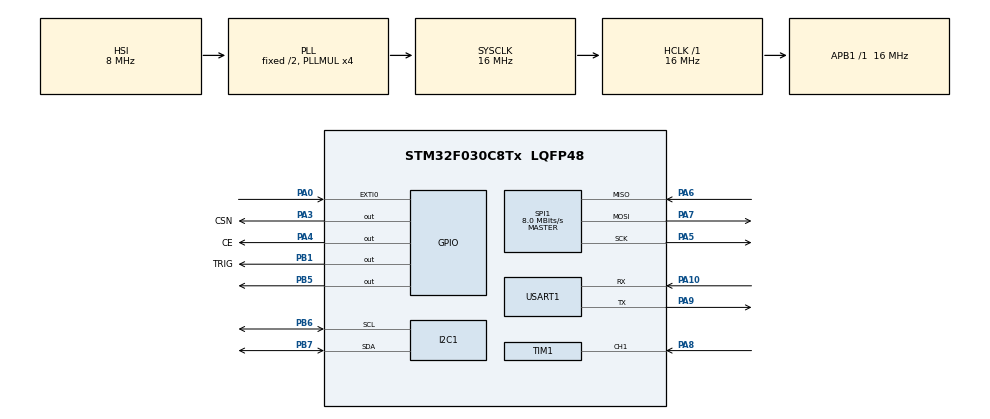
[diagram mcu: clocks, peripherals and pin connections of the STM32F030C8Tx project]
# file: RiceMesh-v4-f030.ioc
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I2C1.Timing=0x00201D2B
Mcu.Family=STM32F0
Mcu.Name=STM32F030C8Tx
Mcu.Package=LQFP48
NVIC.EXTI0_1_IRQn=true\:0\:0\:false\:false\:true\:true\:true\:true
NVIC.I2C1_IRQn=true\:0\:0\:false\:false\:true\:true\:true\:true
NVIC.SPI1_IRQn=true\:0\:0\:false\:false\:true\:true\:true\:true
NVIC.TIM1_CC_IRQn=true\:0\:0\:false\:false\:true\:true\:true\:true
NVIC.USART1_IRQn=true\:0\:0\:false\:false\:true\:true\:true\:true
PA0.GPIO_ModeDefaultEXTI=GPIO_MODE_IT_FALLING
PA0.Signal=GPXTI0
PA10.Mode=Asynchronous
PA10.Signal=USART1_RX
PA3.GPIO_Label=CSN
PA3.GPIO_Speed=GPIO_SPEED_FREQ_HIGH
PA3.Signal=GPIO_Output
PA4.GPIO_Label=CE
PA4.GPIO_Speed=GPIO_SPEED_FREQ_HIGH
PA4.Signal=GPIO_Output
PA5.Mode=Full_Duplex_Master
PA5.Signal=SPI1_SCK
PA6.Mode=Full_Duplex_Master
PA6.Signal=SPI1_MISO
PA7.Mode=Full_Duplex_Master
PA7.Signal=SPI1_MOSI
PA8.Signal=S_TIM1_CH1
PA9.Mode=Asynchronous
PA9.Signal=USART1_TX
PB1.GPIO_Label=TRIG
PB1.Signal=GPIO_Output
PB5.Signal=GPIO_Output
PB6.Mode=I2C
PB6.Signal=I2C1_SCL
PB7.Mode=I2C
PB7.Signal=I2C1_SDA
ProjectManager.HeapSize=0x200
ProjectManager.StackSize=0x400
ProjectManager.TargetToolchain=Makefile
RCC.AHBFreq_Value=16000000
RCC.APB1Freq_Value=16000000
RCC.APB1TimFreq_Value=16000000
RCC.HCLKFreq_Value=16000000
RCC.PLLMUL=RCC_PLL_MUL4
RCC.SYSCLKFreq_VALUE=16000000
RCC.SYSCLKSource=RCC_SYSCLKSOURCE_PLLCLK
SH.S_TIM1_CH1.0=TIM1_CH1,Input_Capture1_from_TI1
SPI1.CalculateBaudRate=8.0 MBits/s
SPI1.DataSize=SPI_DATASIZE_8BIT
SPI1.Direction=SPI_DIRECTION_2LINES
SPI1.Mode=SPI_MODE_MASTER
SPI1.VirtualType=VM_MASTER
TIM1.Channel-Input_Capture1_from_TI1=TIM_CHANNEL_1
TIM1.Channel-Input_Capture2_from_TI2=TIM_CHANNEL_2
TIM1.Prescaler=47
USART1.VirtualMode-Asynchronous=VM_ASYNC
VP_TIM1_VS_ClockSourceINT.Mode=Internal
board=custom

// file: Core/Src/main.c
/* USER CODE BEGIN Header */
/**
  ******************************************************************************
  * @file           : main.c
  * @brief          : Main program body
  ******************************************************************************
  * @attention
  *
  * Copyright (c) 2026 STMicroelectronics.
  * All rights reserved.
  *
  * This software is licensed under terms that can be found in the LICENSE file
  * in the root directory of this software component.
  * If no LICENSE file comes with this software, it is provided AS-IS.
  *
  ******************************************************************************
  */
/* USER CODE END Header */
#include "main.h"

/* USER CODE BEGIN Includes */
#include "NRF24.h"
#include "NRF24_reg_addresses.h"
#include <stdio.h>
#include <string.h>
#include "bmp280.h"

#define PLD_SIZE 32
/* USER CODE END Includes */

I2C_HandleTypeDef hi2c1;

SPI_HandleTypeDef hspi1;

TIM_HandleTypeDef htim1;

UART_HandleTypeDef huart1;

void SystemClock_Config(void);
static void MX_GPIO_Init(void);
static void MX_SPI1_Init(void);
static void MX_TIM1_Init(void);
static void MX_USART1_UART_Init(void);
static void MX_I2C1_Init(void);

/* USER CODE BEGIN 0 */
void delay (uint16_t time)
{
	__HAL_TIM_SET_COUNTER(&htim1, 0);
	while (__HAL_TIM_GET_COUNTER (&htim1) < time);
}

uint32_t IC_Val1 = 0;
uint32_t IC_Val2 = 0;
uint32_t Difference = 0;
uint8_t Distance  = 0;
uint8_t Is_First_Captured = 0;  // is the first value captured ?

void HAL_TIM_IC_CaptureCallback(TIM_HandleTypeDef *htim)
{
	if (htim->Channel == HAL_TIM_ACTIVE_CHANNEL_1)  // if the interrupt source is channel1
	{
		if (Is_First_Captured==0) // if the first value is not captured
		{
			IC_Val1 = HAL_TIM_ReadCapturedValue(htim, TIM_CHANNEL_1); // read the first value
			Is_First_Captured = 1;  // set the first captured as true
			// Now change the polarity to falling edge
			__HAL_TIM_SET_CAPTUREPOLARITY(htim, TIM_CHANNEL_1, TIM_INPUTCHANNELPOLARITY_FALLING);
		}

		else if (Is_First_Captured==1)   // if the first is already captured
		{
			IC_Val2 = HAL_TIM_ReadCapturedValue(htim, TIM_CHANNEL_1);  // read second value
			__HAL_TIM_SET_COUNTER(htim, 0);  // reset the counter

			if (IC_Val2 > IC_Val1)
			{
				Difference = IC_Val2-IC_Val1;
			}

			else if (IC_Val1 > IC_Val2)
			{
				Difference = (0xffff - IC_Val1) + IC_Val2;
			}

			Distance = Difference * .034/2;
			Is_First_Captured = 0; // set it back to false

			// set polarity to rising edge
			__HAL_TIM_SET_CAPTUREPOLARITY(htim, TIM_CHANNEL_1, TIM_INPUTCHANNELPOLARITY_RISING);
			__HAL_TIM_DISABLE_IT(&htim1, TIM_IT_CC1);
		}
	}
}

void HCSR04_Read (void)
{
	HAL_GPIO_WritePin(TRIG_GPIO_Port, TRIG_Pin, GPIO_PIN_SET);  // pull the TRIG pin HIGH
	delay(10);  // wait for 10 us
	HAL_GPIO_WritePin(TRIG_GPIO_Port, TRIG_Pin, GPIO_PIN_RESET);  // pull the TRIG pin low

	__HAL_TIM_ENABLE_IT(&htim1, TIM_IT_CC1);
}

uint8_t Address_Node1[5] = {0xAA, 0x44, 0x33, 0x22, 0x11};
uint8_t Address_Node2[5] = {0xBB, 0x44, 0x33, 0x22, 0x11};
uint8_t Address_Node3[5] = {0xCC, 0x44, 0x33, 0x22, 0x11};

uint8_t data_R[PLD_SIZE + 1];
uint16_t data = 0;

/* --- Taruh di luar loop, dekat deklarasi global / atas main --- */
#define NUM_NODES 3

typedef struct {
  uint32_t distance;   // data mentah HC-SR04
  uint8_t  valid;      // 0 = belum pernah terima dari node ini
} node_data_t;

static node_data_t nodes[NUM_NODES] = {0};
static uint32_t last_send = 0;

/* USER CODE END 0 */

int main(void)
{

  /* MCU Configuration--------------------------------------------------------*/

  /* Reset of all peripherals, Initializes the Flash interface and the Systick. */
  HAL_Init();

  /* Configure the system clock */
  SystemClock_Config();

  /* Initialize all configured peripherals */
  MX_GPIO_Init();
  MX_SPI1_Init();
  MX_TIM1_Init();
  MX_USART1_UART_Init();
  MX_I2C1_Init();
  /* USER CODE BEGIN 2 */
  csn_high();
  ce_high();

  HAL_Delay(5);

  ce_low();

  nrf24_init();

  nrf24_auto_ack_all(auto_ack);
  nrf24_en_ack_pld(disable);
  nrf24_dpl(disable);

  nrf24_set_crc(no_crc, _1byte);

  nrf24_tx_pwr(_0dbm);
  nrf24_data_rate(_1mbps);
  nrf24_set_channel(90);
  nrf24_set_addr_width(5);

  nrf24_set_rx_dpl(0, disable);
  nrf24_set_rx_dpl(1, disable);
  nrf24_set_rx_dpl(2, disable);
  nrf24_set_rx_dpl(3, disable);
  nrf24_set_rx_dpl(4, disable);
  nrf24_set_rx_dpl(5, disable);

  nrf24_pipe_pld_size(0, PLD_SIZE);
  nrf24_pipe_pld_size(1, PLD_SIZE);
  nrf24_pipe_pld_size(2, PLD_SIZE);
  nrf24_pipe_pld_size(3, PLD_SIZE);

  nrf24_auto_retr_delay(4);
  nrf24_auto_retr_limit(10);

  nrf24_open_rx_pipe(1, Address_Node1);
  nrf24_open_rx_pipe(2, Address_Node2);
  nrf24_open_rx_pipe(3, Address_Node3);
  ce_high();

  nrf24_flush_rx();

  nrf24_listen();

  BMP280_Init(&hi2c1);
  //nrf24_stop_listen();
  /* USER CODE END 2 */

  /* Infinite loop */
  /* USER CODE BEGIN WHILE */
  while (1)
  {
    // nrf24_listen();  // Start listening for incoming data

    // if (nrf24_data_available())  // Check if data is available
    // {
    //   // nrf24_receive(data_R, sizeof(data_R));  // Receive the data
    //   // HAL_GPIO_WritePin(GPIOB, GPIO_PIN_5, GPIO_PIN_SET);  // Toggle an LED to indicate data reception
    //   // HAL_Delay(100);
    //   // HAL_GPIO_WritePin(GPIOB, GPIO_PIN_5, GPIO_PIN_RESET);

    //   memset(data_R, 0, sizeof(data_R));

    //   nrf24_receive(data_R, PLD_SIZE);
    //   data_R[PLD_SIZE] = '\0';

    //   char tmp[64];
    //   snprintf(tmp, sizeof(tmp), "| %s |\r\n", (char *)data_R);
    //   HAL_UART_Transmit(&huart1, (uint8_t *)tmp, strlen(tmp), 1000);

    //   HAL_GPIO_WritePin(GPIOB, GPIO_PIN_5, GPIO_PIN_SET);
    //   HAL_Delay(50);
    //   HAL_GPIO_WritePin(GPIOB, GPIO_PIN_5, GPIO_PIN_RESET);
    // }

    // int32_t temp, press;
    // BMP280_Read_Raw(&temp, &press);

    // if (temp == 0 || press == 0) {
    //   // Jika pembacaan gagal, kirim pesan error
    //   const char *error_msg = "Gagal membaca sensor BMP280\r\n";
    //   HAL_UART_Transmit(&huart1, (uint8_t*)error_msg, strlen(error_msg), HAL_MAX_DELAY);

    //   HAL_Delay(1000); // Beri jeda 1 detik sebelum mencoba lagi
    //   continue;        // <-- PENTING: Lewati eksekusi di bawah, langsung ulang loop!
    // }

    // // Kompensasi nilai mentah menjadi nilai sebenarnya
    // int32_t real_temp = BMP280_Compensate_T(temp);
    // uint32_t real_press = BMP280_Compensate_P(press);

    // // Trik tanpa Float
    // int32_t temp_int = real_temp / 100;
    // int32_t temp_frac = real_temp % 100;
    // if (temp_frac < 0) temp_frac = -temp_frac; // Mencegah hasil negatif ganda

    // // Trik memecah nilai tekanan dari Pa menjadi hPa (Contoh: 100653 Pa -> 1006.53 hPa)
    // uint32_t press_int = real_press / 100;
    // uint32_t press_frac = real_press % 100;

    // // Membuat buffer untuk menyimpan teks yang akan dikirim
    // char uart_buf[100];

    // // Menyusun format teks dengan satuan hPa
    // snprintf(uart_buf, sizeof(uart_buf), "Suhu: %ld.%02ld C | Tekanan: %lu.%02lu hPa\r\n",
    //          temp_int, temp_frac, press_int, press_frac);

    // // Mengirim data melalui UART
    // HAL_UART_Transmit(&huart1, (uint8_t*)uart_buf, strlen(uart_buf), HAL_MAX_DELAY);

    // // Tunggu 1 detik sebelum pengukuran berikutnya
    // HAL_Delay(1000);

    /* 1) Dengarkan & update array node (non-blocking, jangan di-delay di sini) */
  nrf24_listen();
  if (nrf24_data_available())
  {
    memset(data_R, 0, sizeof(data_R));
    nrf24_receive(data_R, PLD_SIZE);
    data_R[PLD_SIZE] = '\0';

    unsigned int node_id = 0, dist = 0;
    // format kiriman: "N1 d:123 "
    if (sscanf((char *)data_R, "N%u d:%u", &node_id, &dist) == 2)
    {
      if (node_id >= 1 && node_id <= NUM_NODES)
      {
        nodes[node_id - 1].distance = dist;   // index 0=N1, 1=N2, 2=N3
        nodes[node_id - 1].valid = 1;
      }
    }

    HAL_GPIO_WritePin(GPIOB, GPIO_PIN_5, GPIO_PIN_SET);
    HAL_Delay(20);
    HAL_GPIO_WritePin(GPIOB, GPIO_PIN_5, GPIO_PIN_RESET);
  }

  /* 2) Kirim JSON tiap 1 detik (pakai tick, BUKAN HAL_Delay biar gak miss paket) */
  if (HAL_GetTick() - last_send >= 1000)
  {
    last_send = HAL_GetTick();

    /* Baca BMP280 */
    int32_t temp_raw, press_raw;
    uint8_t bmp_ok = 1;
    BMP280_Read_Raw(&temp_raw, &press_raw);
    if (temp_raw == 0 || press_raw == 0) bmp_ok = 0;

    /* Siapkan field temperature & pressure (dengan handling tanda negatif) */
    char temp_str[16], press_str[16];
    if (bmp_ok)
    {
      int32_t  real_temp  = BMP280_Compensate_T(temp_raw);
      uint32_t real_press = BMP280_Compensate_P(press_raw);

      const char *sign = (real_temp < 0) ? "-" : "";
      int32_t a_temp = (real_temp < 0) ? -real_temp : real_temp;

      snprintf(temp_str,  sizeof(temp_str),  "%s%ld.%02ld",
               sign, (long)(a_temp / 100), (long)(a_temp % 100));
      snprintf(press_str, sizeof(press_str), "%lu.%02lu",
               (unsigned long)(real_press / 100), (unsigned long)(real_press % 100));
    }
    else
    {
      strcpy(temp_str,  "null");   // sensor gagal -> JSON tetap valid, data jarak gak hilang
      strcpy(press_str, "null");
    }

    /* Bangun JSON */
    char json[256];
    int len = 0;
    len += snprintf(json + len, sizeof(json) - len, "{\"device\":[");
    for (int i = 0; i < NUM_NODES; i++)
    {
      if (i > 0) len += snprintf(json + len, sizeof(json) - len, ",");

      if (nodes[i].valid)
        len += snprintf(json + len, sizeof(json) - len,
            "{\"d\":%lu,\"temperature\":%s,\"pressure\":%s}",
            (unsigned long)nodes[i].distance, temp_str, press_str);
      else
        len += snprintf(json + len, sizeof(json) - len,
            "{\"d\":null,\"temperature\":%s,\"pressure\":%s}",
            temp_str, press_str);
    }
    len += snprintf(json + len, sizeof(json) - len, "]}\n");

    HAL_UART_Transmit(&huart1, (uint8_t *)json, strlen(json), HAL_MAX_DELAY);
    /* USER CODE END WHILE */
  }

  }
}

void SystemClock_Config(void)
{
  RCC_OscInitTypeDef RCC_OscInitStruct = {0};
  RCC_ClkInitTypeDef RCC_ClkInitStruct = {0};
  RCC_PeriphCLKInitTypeDef PeriphClkInit = {0};

  /** Initializes the RCC Oscillators according to the specified parameters
  * in the RCC_OscInitTypeDef structure.
  */
  RCC_OscInitStruct.OscillatorType = RCC_OSCILLATORTYPE_HSI;
  RCC_OscInitStruct.HSIState = RCC_HSI_ON;
  RCC_OscInitStruct.HSICalibrationValue = RCC_HSICALIBRATION_DEFAULT;
  RCC_OscInitStruct.PLL.PLLState = RCC_PLL_ON;
  RCC_OscInitStruct.PLL.PLLSource = RCC_PLLSOURCE_HSI;
  RCC_OscInitStruct.PLL.PLLMUL = RCC_PLL_MUL4;
  RCC_OscInitStruct.PLL.PREDIV = RCC_PREDIV_DIV1;
  if (HAL_RCC_OscConfig(&RCC_OscInitStruct) != HAL_OK)
  {
    Error_Handler();
  }

  /** Initializes the CPU, AHB and APB buses clocks
  */
  RCC_ClkInitStruct.ClockType = RCC_CLOCKTYPE_HCLK|RCC_CLOCKTYPE_SYSCLK
                              |RCC_CLOCKTYPE_PCLK1;
  RCC_ClkInitStruct.SYSCLKSource = RCC_SYSCLKSOURCE_PLLCLK;
  RCC_ClkInitStruct.AHBCLKDivider = RCC_SYSCLK_DIV1;
  RCC_ClkInitStruct.APB1CLKDivider = RCC_HCLK_DIV1;

  if (HAL_RCC_ClockConfig(&RCC_ClkInitStruct, FLASH_LATENCY_0) != HAL_OK)
  {
    Error_Handler();
  }
  PeriphClkInit.PeriphClockSelection = RCC_PERIPHCLK_USART1|RCC_PERIPHCLK_I2C1;
  PeriphClkInit.Usart1ClockSelection = RCC_USART1CLKSOURCE_PCLK1;
  PeriphClkInit.I2c1ClockSelection = RCC_I2C1CLKSOURCE_HSI;
  if (HAL_RCCEx_PeriphCLKConfig(&PeriphClkInit) != HAL_OK)
  {
    Error_Handler();
  }
}

static void MX_I2C1_Init(void)
{

  hi2c1.Instance = I2C1;
  hi2c1.Init.Timing = 0x00201D2B;
  hi2c1.Init.OwnAddress1 = 0;
  hi2c1.Init.AddressingMode = I2C_ADDRESSINGMODE_7BIT;
  hi2c1.Init.DualAddressMode = I2C_DUALADDRESS_DISABLE;
  hi2c1.Init.OwnAddress2 = 0;
  hi2c1.Init.OwnAddress2Masks = I2C_OA2_NOMASK;
  hi2c1.Init.GeneralCallMode = I2C_GENERALCALL_DISABLE;
  hi2c1.Init.NoStretchMode = I2C_NOSTRETCH_DISABLE;
  if (HAL_I2C_Init(&hi2c1) != HAL_OK)
  {
    Error_Handler();
  }

  /** Configure Analogue filter
  */
  if (HAL_I2CEx_ConfigAnalogFilter(&hi2c1, I2C_ANALOGFILTER_ENABLE) != HAL_OK)
  {
    Error_Handler();
  }

  /** Configure Digital filter
  */
  if (HAL_I2CEx_ConfigDigitalFilter(&hi2c1, 0) != HAL_OK)
  {
    Error_Handler();
  }

}

static void MX_SPI1_Init(void)
{

  /* SPI1 parameter configuration*/
  hspi1.Instance = SPI1;
  hspi1.Init.Mode = SPI_MODE_MASTER;
  hspi1.Init.Direction = SPI_DIRECTION_2LINES;
  hspi1.Init.DataSize = SPI_DATASIZE_8BIT;
  hspi1.Init.CLKPolarity = SPI_POLARITY_LOW;
  hspi1.Init.CLKPhase = SPI_PHASE_1EDGE;
  hspi1.Init.NSS = SPI_NSS_SOFT;
  hspi1.Init.BaudRatePrescaler = SPI_BAUDRATEPRESCALER_2;
  hspi1.Init.FirstBit = SPI_FIRSTBIT_MSB;
  hspi1.Init.TIMode = SPI_TIMODE_DISABLE;
  hspi1.Init.CRCCalculation = SPI_CRCCALCULATION_DISABLE;
  hspi1.Init.CRCPolynomial = 7;
  hspi1.Init.CRCLength = SPI_CRC_LENGTH_DATASIZE;
  hspi1.Init.NSSPMode = SPI_NSS_PULSE_ENABLE;
  if (HAL_SPI_Init(&hspi1) != HAL_OK)
  {
    Error_Handler();
  }

}

static void MX_TIM1_Init(void)
{

  TIM_ClockConfigTypeDef sClockSourceConfig = {0};
  TIM_MasterConfigTypeDef sMasterConfig = {0};
  TIM_IC_InitTypeDef sConfigIC = {0};

  htim1.Instance = TIM1;
  htim1.Init.Prescaler = 47;
  htim1.Init.CounterMode = TIM_COUNTERMODE_UP;
  htim1.Init.Period = 65535;
  htim1.Init.ClockDivision = TIM_CLOCKDIVISION_DIV1;
  htim1.Init.RepetitionCounter = 0;
  htim1.Init.AutoReloadPreload = TIM_AUTORELOAD_PRELOAD_DISABLE;
  if (HAL_TIM_Base_Init(&htim1) != HAL_OK)
  {
    Error_Handler();
  }
  sClockSourceConfig.ClockSource = TIM_CLOCKSOURCE_INTERNAL;
  if (HAL_TIM_ConfigClockSource(&htim1, &sClockSourceConfig) != HAL_OK)
  {
    Error_Handler();
  }
  if (HAL_TIM_IC_Init(&htim1) != HAL_OK)
  {
    Error_Handler();
  }
  sMasterConfig.MasterOutputTrigger = TIM_TRGO_RESET;
  sMasterConfig.MasterSlaveMode = TIM_MASTERSLAVEMODE_DISABLE;
  if (HAL_TIMEx_MasterConfigSynchronization(&htim1, &sMasterConfig) != HAL_OK)
  {
    Error_Handler();
  }
  sConfigIC.ICPolarity = TIM_INPUTCHANNELPOLARITY_RISING;
  sConfigIC.ICSelection = TIM_ICSELECTION_DIRECTTI;
  sConfigIC.ICPrescaler = TIM_ICPSC_DIV1;
  sConfigIC.ICFilter = 0;
  if (HAL_TIM_IC_ConfigChannel(&htim1, &sConfigIC, TIM_CHANNEL_1) != HAL_OK)
  {
    Error_Handler();
  }

}

static void MX_USART1_UART_Init(void)
{

  huart1.Instance = USART1;
  huart1.Init.BaudRate = 115200;
  huart1.Init.WordLength = UART_WORDLENGTH_8B;
  huart1.Init.StopBits = UART_STOPBITS_1;
  huart1.Init.Parity = UART_PARITY_NONE;
  huart1.Init.Mode = UART_MODE_TX_RX;
  huart1.Init.HwFlowCtl = UART_HWCONTROL_NONE;
  huart1.Init.OverSampling = UART_OVERSAMPLING_16;
  huart1.Init.OneBitSampling = UART_ONE_BIT_SAMPLE_DISABLE;
  huart1.AdvancedInit.AdvFeatureInit = UART_ADVFEATURE_NO_INIT;
  if (HAL_UART_Init(&huart1) != HAL_OK)
  {
    Error_Handler();
  }

}

static void MX_GPIO_Init(void)
{
  GPIO_InitTypeDef GPIO_InitStruct = {0};

  /* GPIO Ports Clock Enable */
  __HAL_RCC_GPIOA_CLK_ENABLE();
  __HAL_RCC_GPIOB_CLK_ENABLE();

  /*Configure GPIO pin Output Level */
  HAL_GPIO_WritePin(GPIOA, CSN_Pin|CE_Pin, GPIO_PIN_RESET);

  /*Configure GPIO pin Output Level */
  HAL_GPIO_WritePin(GPIOB, TRIG_Pin|GPIO_PIN_5, GPIO_PIN_RESET);

  /*Configure GPIO pin : PA0 */
  GPIO_InitStruct.Pin = GPIO_PIN_0;
  GPIO_InitStruct.Mode = GPIO_MODE_IT_FALLING;
  GPIO_InitStruct.Pull = GPIO_NOPULL;
  HAL_GPIO_Init(GPIOA, &GPIO_InitStruct);

  /*Configure GPIO pins : CSN_Pin CE_Pin */
  GPIO_InitStruct.Pin = CSN_Pin|CE_Pin;
  GPIO_InitStruct.Mode = GPIO_MODE_OUTPUT_PP;
  GPIO_InitStruct.Pull = GPIO_NOPULL;
  GPIO_InitStruct.Speed = GPIO_SPEED_FREQ_HIGH;
  HAL_GPIO_Init(GPIOA, &GPIO_InitStruct);

  /*Configure GPIO pins : TRIG_Pin PB5 */
  GPIO_InitStruct.Pin = TRIG_Pin|GPIO_PIN_5;
  GPIO_InitStruct.Mode = GPIO_MODE_OUTPUT_PP;
  GPIO_InitStruct.Pull = GPIO_NOPULL;
  GPIO_InitStruct.Speed = GPIO_SPEED_FREQ_LOW;
  HAL_GPIO_Init(GPIOB, &GPIO_InitStruct);

  /* EXTI interrupt init*/
  HAL_NVIC_SetPriority(EXTI0_1_IRQn, 0, 0);
  HAL_NVIC_EnableIRQ(EXTI0_1_IRQn);

}

void Error_Handler(void)
{
  __disable_irq();
  while (1)
  {
  }
}
